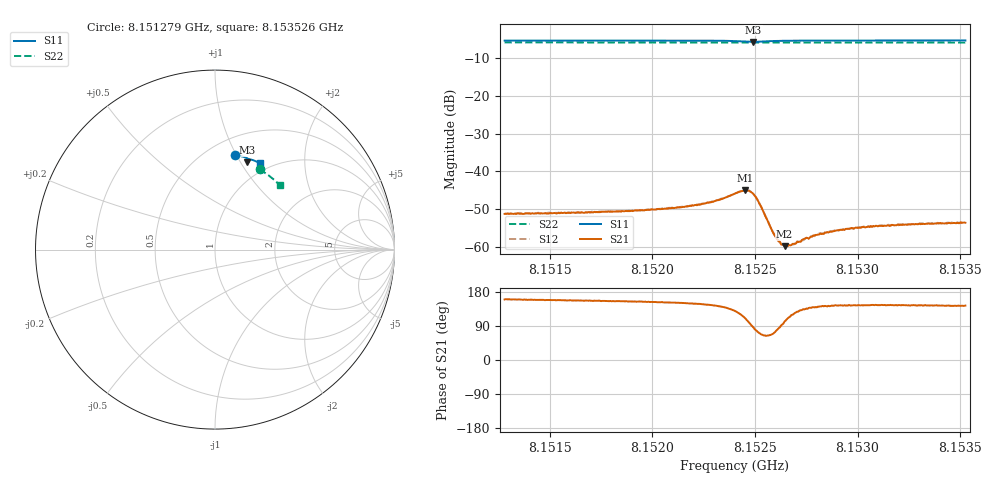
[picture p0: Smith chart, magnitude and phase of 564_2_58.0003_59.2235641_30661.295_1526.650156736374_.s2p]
#  HZ  S  RI  R  50.00
! Rohde & Schwarz Vector Network Analyzer
! Rohde-Schwarz,ZNB20-2Port,1311601062101988,3.16
! Created: UTC 3/21/2024, 1:15:38 AM
! freq[Hz]  re:S11  im:S11  re:S21  im:S21  re:S12  im:S12  re:S22  im:S22
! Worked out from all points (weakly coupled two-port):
!   401 points, 8.151279 GHz to 8.153526 GHz, reference 50 ohm
!   highest |S21| = -45.04 dB at 8.152453 GHz (marker M1); lowest = -59.8 dB at 8.152644 GHz (marker M2)
!   lowest |S11| = -5.7 dB at 8.152492 GHz (marker M3), VSWR 3.16, Z = 40.2 + j53.6 ohm
!   |S11| at or under -10 dB: nowhere
!   |S22| runs from -5.9 to -5.8 dB; largest |S21 - S12| = 0.00011
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8.1512794e9  0.1094 0.5284  -0.00256 0.000946  -0.00258 0.000978  0.2491 0.4466
8.1516556e9  0.1355 0.5229  -0.00262 0.00113  -0.00264 0.00114  0.2697 0.4339
8.1520319e9  0.162 0.5156  -0.0028 0.00147  -0.00279 0.00153  0.2896 0.4203
8.1522284e9  0.1768 0.5101  -0.00307 0.00192  -0.00306 0.00201  0.2997 0.4127
8.1523295e9  0.1855 0.5049  -0.00331 0.00262  -0.00331 0.0027  0.3048 0.4087
8.1524025e9  0.191 0.4973  -0.00321 0.00392  -0.0032 0.00399  0.3084 0.4055
8.1524531e9  0.1894 0.4886  -0.00188 0.00527  -0.0018 0.00532  0.3106 0.4033
8.1524755e9  0.1848 0.4863  -0.000586 0.00539  -0.000526 0.00543  0.3116 0.4024
8.1524924e9  0.1808 0.487  0.000372 0.00498  0.000416 0.00499  0.3121 0.4018
8.1525092e9  0.1781 0.4897  0.00103 0.00419  0.00108 0.00421  0.3128 0.4017
8.1525261e9  0.1773 0.4931  0.00126 0.00331  0.00132 0.00332  0.3138 0.401
8.1525822e9  0.1822 0.501  0.00063 0.00154  0.000651 0.00157  0.3168 0.3991
8.1525991e9  0.1844 0.502  0.000366 0.00133  0.000366 0.00132  0.3176 0.3983
8.1526159e9  0.1865 0.5025  0.000117 0.00117  0.000166 0.00118  0.3185 0.3977
8.152644e9  0.1898 0.503  -0.000205 0.000998  -0.000186 0.00104  0.3199 0.3964
8.1526608e9  0.1916 0.503  -0.000365 0.000968  -0.000325 0.000965  0.3208 0.3959
8.1526833e9  0.1938 0.5028  -0.00054 0.00095  -0.000509 0.00096  0.3217 0.3949
8.1527788e9  0.2023 0.5011  -0.00102 0.000897  -0.00103 0.000934  0.3266 0.3909
8.1528799e9  0.2101 0.4989  -0.00128 0.000957  -0.00129 0.000994  0.3315 0.3866
8.1529585e9  0.2157 0.4968  -0.00142 0.000979  -0.00142 0.00101  0.3353 0.3833
8.153155e9  0.2291 0.4914  -0.00154 0.00109  -0.00158 0.00112  0.3443 0.3747
8.1535257e9  0.253 0.4804  -0.00168 0.00124  -0.00166 0.00128  0.3608 0.358
